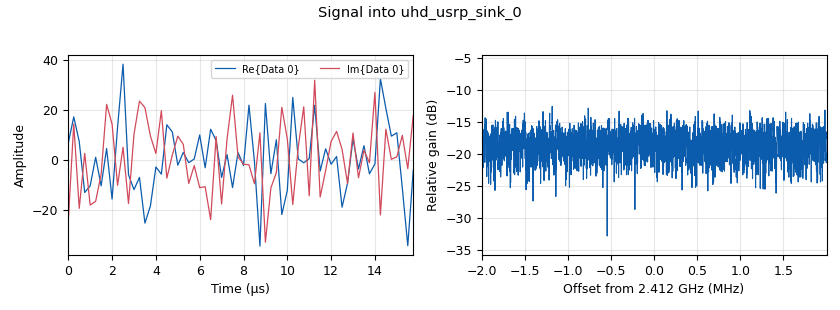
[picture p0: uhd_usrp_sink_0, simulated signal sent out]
options:
  parameters:
    author: Marcos
    generate_options: qt_gui
    id: Varredura_Jamming
    output_language: python
    title: WLAN_Sweep Jamming
  states: {}

blocks:
- name: amp
  id: variable_qtgui_label
  parameters:
    label: amp
    type: int
    value: '0'
  states: {}
- name: banda
  id: variable
  parameters:
    value: 22e6
  states: {}
- name: frequencia
  id: variable
  parameters:
    value: '2412000000'
  states: {}
- name: frequencia_2
  id: variable_qtgui_label
  parameters:
    label: frequencia_2
    type: int
    value: '2412000000'
  states: {}
- name: function_probe
  id: variable_function_probe
  parameters:
    block_id: probSign
    function_name: level
    poll_rate: '30'
    value: '0'
  states: {}
- name: label_0
  id: variable_qtgui_label
  parameters:
    label: amp
    type: int
    value: '0'
  states: {}
- name: samp_rate
  id: variable
  parameters:
    value: '4000000'
  states: {}
- name: analog_noise_source_x_0
  id: analog_noise_source_x
  parameters:
    amp: '20'
    noise_type: analog.GR_GAUSSIAN
    seed: '0'
    type: complex
  states: {}
- name: probSign
  id: blocks_probe_signal_x
  parameters:
    type: complex
  states: {}
- name: sweep_mod
  id: epy_module
  parameters:
    source_code: '# this module will be imported in the into your flowgraph'
  states: {}
- name: uhd_usrp_sink_0
  id: uhd_usrp_sink
  parameters:
    ant0: '"TX/RX"'
    bw0: banda
    center_freq0: frequencia
    clock_rate: '0.0'
    dev_args: '""'
    gain0: '1'
    gain_type0: normalized
    len_tag_name: ''
    samp_rate: samp_rate
    sd_spec0: A:A
    sync: pc_clock
    type: fc32
  states: {}

connections:
- [analog_noise_source_x_0, '0', probSign, '0']
- [analog_noise_source_x_0, '0', uhd_usrp_sink_0, '0']

metadata:
  file_format: 1
  grc_version: 3.10.12.0
